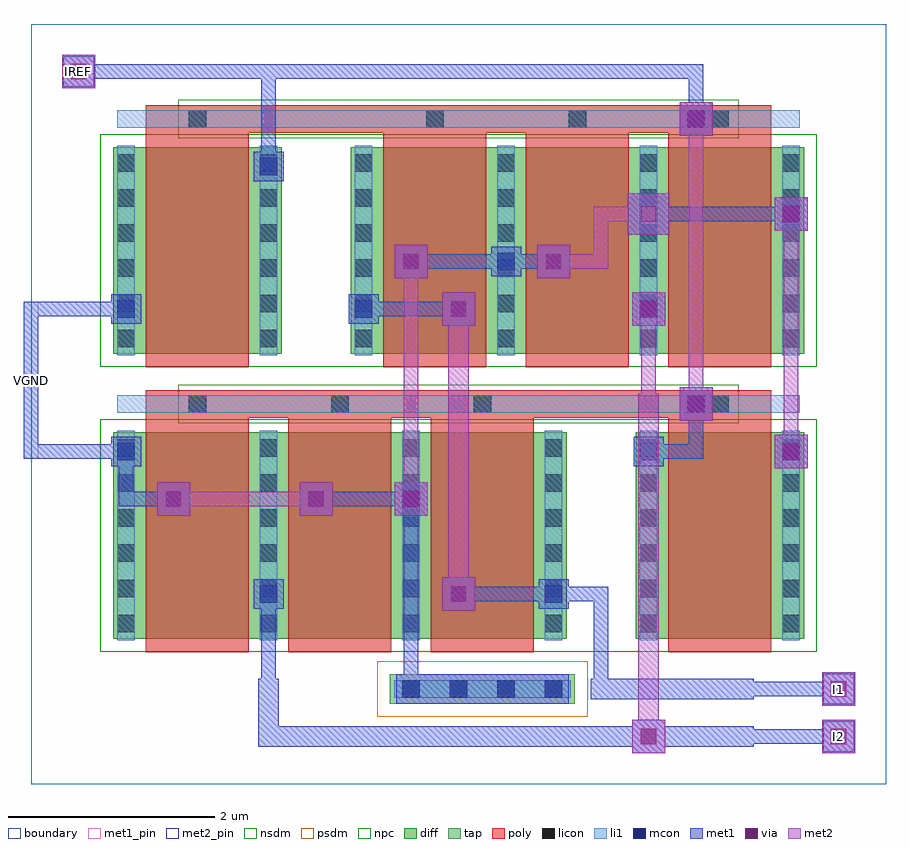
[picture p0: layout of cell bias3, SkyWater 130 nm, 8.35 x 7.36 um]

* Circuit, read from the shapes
.subckt bias3 I1 I2 IREF VGND
XM1 I2 IREF VGND VGND sky130_fd_pr__nfet_01v8 w=2 l=1 m=4
XM2 IREF IREF VGND VGND sky130_fd_pr__nfet_01v8 w=2 l=1 m=2
XM3 VGND IREF I1 VGND sky130_fd_pr__nfet_01v8 w=2 l=1 m=2
.ends

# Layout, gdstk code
import gdstk
lib = gdstk.Library(unit=1e-6, precision=1e-09)
def R(c, l, rs):  # rectangles x0, y0, x1, y1
    for r in rs: c.add(gdstk.rectangle(r[:2], r[2:], *l))
def A(c, l, x, y, w, h, nx, ny, dx, dy):  # array of equal rectangles
    R(c, l, [(x+i*dx, y+j*dy, x+i*dx+w, y+j*dy+h) for i in range(nx) for j in range(ny)])
diff = (65, 20)
tap = (65, 44)
poly = (66, 20)
licon = (66, 44)
li1 = (67, 20)
mcon = (67, 44)
met1_pin = (68, 16)
met1 = (68, 20)
via = (68, 44)
met2_pin = (69, 16)
met2 = (69, 20)
nsdm = (93, 44)
psdm = (94, 20)
npc = (95, 20)
boundary = (235, 4)

bias3 = lib.new_cell('bias3')
R(bias3, diff, [(0.795,1.405,5.185,3.405), (5.855,1.405,7.485,3.405), (0.795,4.165,2.425,6.165), (3.095,4.165,7.485,6.165)])
R(bias3, tap, [(3.475,0.775,5.265,1.065)])
A(bias3, poly, 1.11, 1.275, 1, 2.405, 3, 1, 1.38, 0)
A(bias3, poly, 3.41, 4.035, 1, 2.405, 3, 1, 1.38, 0)
R(bias3, poly, [(6.17,1.275,7.17,3.68), (1.11,3.545,7.17,3.815), (1.11,4.035,2.11,6.44), (1.11,6.305,7.17,6.575)])
A(bias3, licon, 3.595, 0.835, 0.17, 0.17, 4, 1, 0.46, 0)
A(bias3, licon, 0.835, 1.47, 0.17, 0.17, 4, 6, 1.38, 0.34)
A(bias3, licon, 5.895, 1.47, 0.17, 0.17, 1, 6, 0, 0.34)
A(bias3, licon, 7.275, 1.47, 0.17, 0.17, 1, 6, 0, 0.34)
A(bias3, licon, 1.525, 3.595, 0.17, 0.17, 3, 1, 1.38, 0)
A(bias3, licon, 0.835, 4.23, 0.17, 0.17, 1, 6, 0, 0.34)
A(bias3, licon, 2.215, 4.23, 0.17, 0.17, 1, 6, 0, 0.34)
A(bias3, licon, 3.135, 4.23, 0.17, 0.17, 4, 6, 1.38, 0.34)
A(bias3, licon, 3.825, 6.355, 0.17, 0.17, 3, 1, 1.38, 0)
R(bias3, licon, [(6.585,3.595,6.755,3.765), (1.525,6.355,1.695,6.525)])
A(bias3, li1, 0.835, 1.39, 0.17, 2.03, 4, 1, 1.38, 0)
A(bias3, li1, 3.135, 4.15, 0.17, 2.03, 4, 1, 1.38, 0)
R(bias3, li1, [(3.515,0.835,5.225,1.005), (5.895,1.39,6.065,3.42), (7.275,1.39,7.445,3.42), (0.835,3.595,7.445,3.765), (0.835,4.15,1.005,6.18), (2.215,4.15,2.385,6.18), (0.835,6.355,7.445,6.525)])
A(bias3, mcon, 3.595, 0.835, 0.17, 0.17, 4, 1, 0.46, 0)
R(bias3, mcon, [(2.215,1.755,2.385,1.925), (4.975,1.755,5.145,1.925), (3.595,2.675,3.765,2.845), (0.835,3.135,1.005,3.305), (5.895,3.135,6.065,3.305), (7.275,3.135,7.445,3.305), (6.355,3.595,6.525,3.765), (0.835,4.515,1.005,4.685), (3.135,4.515,3.305,4.685), (5.895,4.515,6.065,4.685), (4.515,4.975,4.685,5.145), (7.275,5.435,7.445,5.605), (2.215,5.895,2.385,6.065), (6.355,6.355,6.525,6.525)])
R(bias3, met1_pin, [(-0.07,3.15,0.07,4.67)])
R(bias3, met1, [(5.82,0.3,6.14,0.62), (7.66,0.3,7.98,0.62), (2.2,0.36,2.4,1.02), (2.2,0.36,7,0.56), (6.83,0.39,7.89,0.53), (7.66,0.76,7.98,1.08), (3.535,0.775,5.205,1.065), (5.42,0.82,7,1.02), (2.23,0.85,2.37,1.91), (3.61,0.85,3.75,0.99), (3.61,0.85,3.75,2.83), (5.45,0.85,5.59,1.91), (6.83,0.85,7.89,0.99), (3.98,1.68,4.3,2), (2.155,1.695,2.445,1.985), (4.915,1.695,5.205,1.985), (4.07,1.77,5.13,1.91), (4.99,1.77,5.59,1.91), (1.22,2.6,1.54,2.92), (2.6,2.6,2.92,2.92), (3.52,2.6,3.84,2.92), (3.535,2.615,3.825,2.905), (0.85,2.69,1.45,2.83), (0.85,2.69,0.99,3.29), (2.69,2.69,3.75,2.83), (7.2,3.06,7.52,3.38), (0.775,3.075,1.065,3.365), (5.835,3.075,6.125,3.365), (7.215,3.075,7.505,3.365), (-0.07,3.15,0.99,3.29), (-0.07,3.15,0.07,4.67), (5.91,3.15,6.51,3.29), (6.37,3.15,6.51,3.75), (6.28,3.52,6.6,3.84), (6.295,3.535,6.585,3.825), (3.98,4.44,4.3,4.76), (5.82,4.44,6.14,4.76), (0.775,4.455,1.065,4.745), (3.075,4.455,3.365,4.745), (5.835,4.455,6.125,4.745), (-0.07,4.53,0.99,4.67), (3.15,4.53,4.21,4.67), (3.52,4.9,3.84,5.22), (4.9,4.9,5.22,5.22), (4.455,4.915,4.745,5.205), (3.61,4.99,4.67,5.13), (4.53,4.99,5.13,5.13), (5.78,5.32,6.18,5.72), (7.2,5.36,7.52,5.68), (7.215,5.375,7.505,5.665), (5.91,5.45,7.43,5.59), (2.155,5.835,2.445,6.125), (2.23,5.91,2.37,6.97), (6.28,6.28,6.6,6.6), (6.295,6.295,6.585,6.585), (6.37,6.37,6.51,6.97), (0.3,6.74,0.62,7.06), (0.39,6.83,2.37,6.97), (2.23,6.83,6.51,6.97)])
R(bias3, via, [(5.905,0.385,6.055,0.535), (7.745,0.385,7.895,0.535), (7.745,0.845,7.895,0.995), (4.065,1.765,4.215,1.915), (1.305,2.685,1.455,2.835), (2.685,2.685,2.835,2.835), (3.605,2.685,3.755,2.835), (7.285,3.145,7.435,3.295), (6.365,3.605,6.515,3.755), (4.065,4.525,4.215,4.675), (5.905,4.525,6.055,4.675), (3.605,4.985,3.755,5.135), (4.985,4.985,5.135,5.135), (5.905,5.445,6.055,5.595), (7.285,5.445,7.435,5.595), (6.365,6.365,6.515,6.515), (0.385,6.825,0.535,6.975)])
R(bias3, met2_pin, [(7.67,0.31,7.97,0.61), (7.67,0.77,7.97,1.07), (0.31,6.75,0.61,7.05)])
R(bias3, met2, [(5.82,0.3,6.14,0.62), (7.66,0.3,7.98,0.62), (7.67,0.31,7.97,0.61), (5.88,0.36,6.08,3.78), (7.75,0.39,7.89,0.53), (7.66,0.76,7.98,1.08), (7.67,0.77,7.97,1.07), (7.75,0.85,7.89,0.99), (3.98,1.68,4.3,2), (4.04,1.74,4.24,4.7), (1.22,2.6,1.54,2.92), (2.6,2.6,2.92,2.92), (3.52,2.6,3.84,2.92), (1.31,2.69,2.83,2.83), (3.61,2.69,3.75,5.13), (7.2,3.06,7.52,3.38), (7.29,3.15,7.43,5.59), (6.28,3.52,6.6,3.84), (5.91,3.61,6.05,4.67), (6.37,3.61,6.51,6.51), (3.98,4.44,4.3,4.76), (5.82,4.44,6.14,4.76), (3.52,4.9,3.84,5.22), (4.9,4.9,5.22,5.22), (4.99,4.99,5.59,5.13), (5.45,4.99,5.59,5.59), (5.78,5.32,6.18,5.72), (7.2,5.36,7.52,5.68), (5.45,5.45,6.05,5.59), (6.28,6.28,6.6,6.6), (0.3,6.74,0.62,7.06), (0.31,6.75,0.61,7.05), (0.39,6.83,0.53,6.97)])
R(bias3, nsdm, [(0.67,1.28,7.61,3.53), (0.67,4.04,7.61,6.29)])
R(bias3, psdm, [(3.35,0.65,5.39,1.19)])
R(bias3, npc, [(1.425,3.495,6.855,3.865), (1.425,6.255,6.855,6.625)])
R(bias3, boundary, [(0,0,8.28,7.36)])
bias3.add(gdstk.Label('VGND', (0,3.91), layer=68, texttype=5))
bias3.add(gdstk.Label('IREF', (0.46,6.9), layer=69, texttype=5))
bias3.add(gdstk.Label('I1', (7.82,0.92), layer=69, texttype=5))
bias3.add(gdstk.Label('I2', (7.82,0.46), layer=69, texttype=5))
bias3.add(gdstk.Label('VGND', (0,3.91), layer=68, texttype=16))
bias3.add(gdstk.Label('IREF', (0.46,6.9), layer=69, texttype=16))
bias3.add(gdstk.Label('I1', (7.82,0.92), layer=69, texttype=16))
bias3.add(gdstk.Label('I2', (7.82,0.46), layer=69, texttype=16))

lib.write_gds('bias3.gds')
